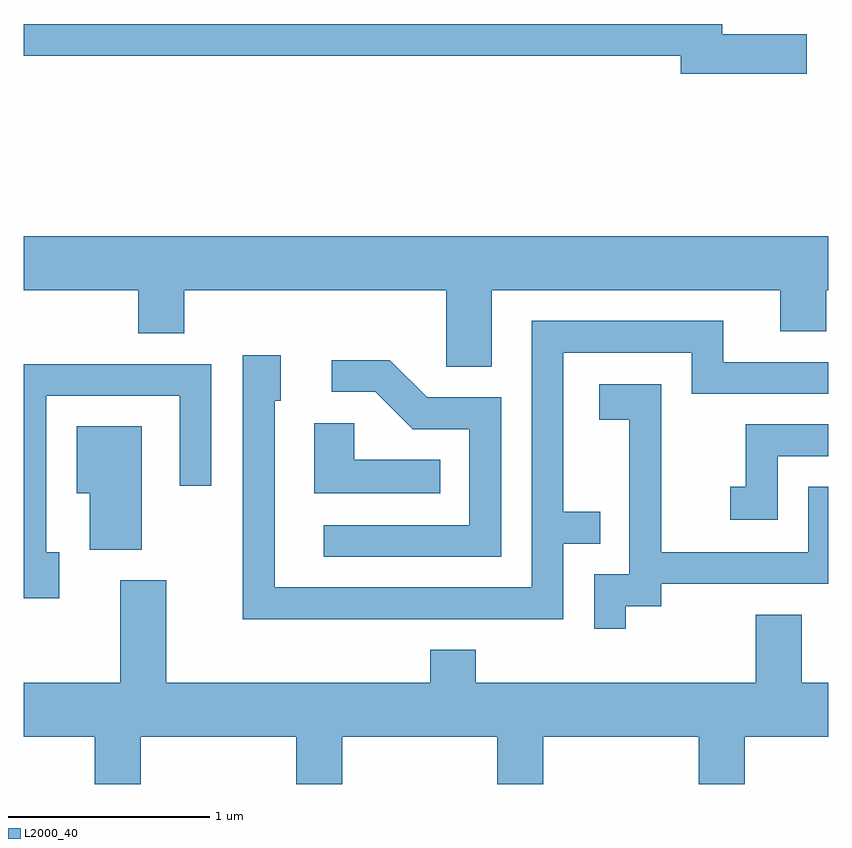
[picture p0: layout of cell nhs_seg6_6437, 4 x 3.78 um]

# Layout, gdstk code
import gdstk
lib = gdstk.Library(unit=1e-6, precision=1e-09)
def P(c, l, *ps):  # polygons
    for p in ps: c.add(gdstk.Polygon(p, *l))
L2000_40 = (2000, 40)

nhs_seg6_6437 = lib.new_cell('nhs_seg6_6437')
P(nhs_seg6_6437, L2000_40, [(383.504,1637.889),(383.084,1637.889),(383.084,1637.939),(379.611,1637.939),(379.611,1637.781),(382.876,1637.781),(382.876,1637.691),(383.504,1637.691)],
  [(381.939,1636.616),(383.371,1636.616),(383.371,1636.411),(383.599,1636.411),(383.599,1636.616),(383.611,1636.616),(383.611,1636.884),(379.611,1636.884),(379.611,1636.616),(380.181,1636.616),(380.181,1636.401),(380.409,1636.401),(380.409,1636.616),(381.711,1636.616),(381.711,1636.236),(381.939,1636.236)],
  [(382.294,1635.356),(382.478,1635.356),(382.478,1635.514),(382.294,1635.514),(382.294,1636.306),(382.931,1636.306),(382.931,1636.101),(383.611,1636.101),(383.611,1636.259),(383.089,1636.259),(383.089,1636.464),(382.136,1636.464),(382.136,1635.139),(380.859,1635.139),(380.859,1636.066),(380.889,1636.066),(380.889,1636.294),(380.701,1636.294),(380.701,1634.981),(382.294,1634.981)],
  [(381.984,1636.084),(381.617,1636.084),(381.432,1636.269),(381.143,1636.269),(381.143,1636.111),(381.359,1636.111),(381.544,1635.926),(381.826,1635.926),(381.826,1635.449),(381.103,1635.449),(381.103,1635.291),(381.984,1635.291)],
  [(379.789,1635.314),(379.724,1635.314),(379.724,1636.091),(380.386,1636.091),(380.386,1635.643),(380.544,1635.643),(380.544,1636.249),(379.611,1636.249),(379.611,1635.086),(379.789,1635.086)],
  [(382.604,1635.046),(382.779,1635.046),(382.779,1635.156),(383.611,1635.156),(383.611,1635.639),(383.511,1635.639),(383.511,1635.314),(382.779,1635.314),(382.779,1636.149),(382.471,1636.149),(382.471,1635.971),(382.621,1635.971),(382.621,1635.204),(382.446,1635.204),(382.446,1634.933),(382.604,1634.933)],
  [(381.683,1635.774),(381.254,1635.774),(381.254,1635.954),(381.056,1635.954),(381.056,1635.606),(381.683,1635.606)],
  [(383.359,1635.791),(383.611,1635.791),(383.611,1635.949),(383.201,1635.949),(383.201,1635.639),(383.123,1635.639),(383.123,1635.476),(383.359,1635.476)],
  [(380.199,1635.939),(379.876,1635.939),(379.876,1635.606),(379.941,1635.606),(379.941,1635.326),(380.199,1635.326)],
  [(380.194,1634.396),(380.966,1634.396),(380.966,1634.162),(381.194,1634.162),(381.194,1634.396),(381.966,1634.396),(381.966,1634.162),(382.194,1634.162),(382.194,1634.396),(382.966,1634.396),(382.966,1634.162),(383.194,1634.162),(383.194,1634.396),(383.611,1634.396),(383.611,1634.664),(383.479,1634.664),(383.479,1635.004),(383.251,1635.004),(383.251,1634.664),(381.859,1634.664),(381.859,1634.829),(381.631,1634.829),(381.631,1634.664),(380.319,1634.664),(380.319,1635.174),(380.091,1635.174),(380.091,1634.664),(379.611,1634.664),(379.611,1634.396),(379.966,1634.396),(379.966,1634.162),(380.194,1634.162)])

lib.write_gds('nhs_seg6_6437.gds')
